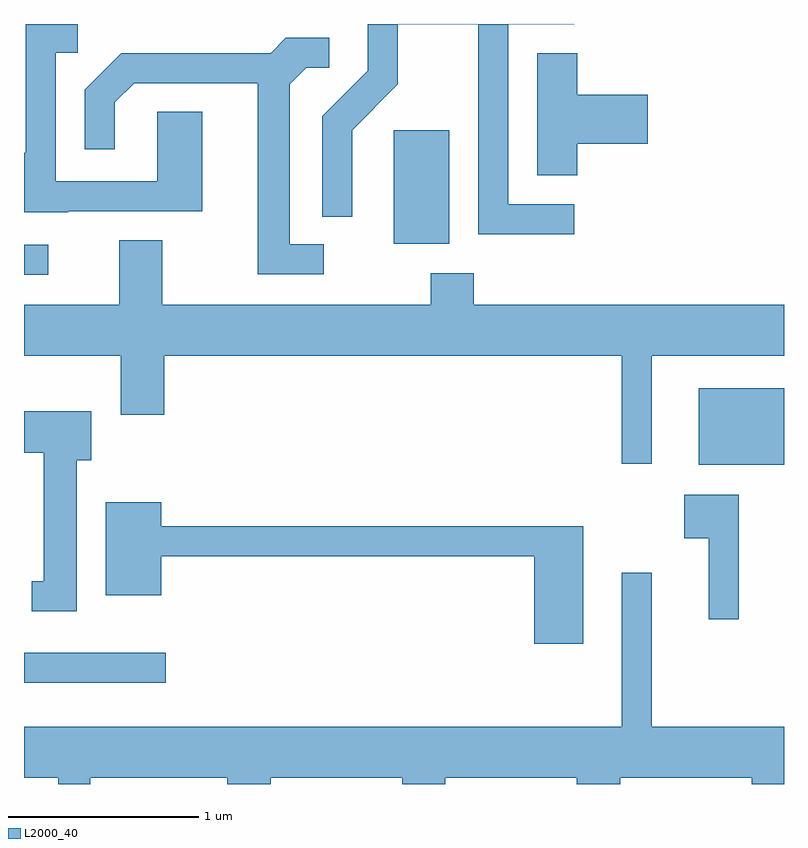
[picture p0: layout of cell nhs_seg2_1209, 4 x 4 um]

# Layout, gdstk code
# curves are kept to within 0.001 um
import gdstk
lib = gdstk.Library(unit=1e-6, precision=1e-09)
def R(c, l, rs):  # rectangles x0, y0, x1, y1
    for r in rs: c.add(gdstk.rectangle(r[:2], r[2:], *l))
def P(c, l, *ps):  # polygons
    for p in ps: c.add(gdstk.Polygon(p, *l))
L2000_40 = (2000, 40)

nhs_seg2_1209 = lib.new_cell('nhs_seg2_1209')
R(nhs_seg2_1209, L2000_40, [(219.611,1084.336,220.358,1084.494), (223.161,1085.481,223.611,1085.884), (219.611,1086.481,219.738,1086.639), (221.556,1086.646,221.849,1087.244)])
P(nhs_seg2_1209, L2000_40, [(219.845,1086.816),(220.549,1086.816),(220.549,1087.339),(220.311,1087.339),(220.311,1086.974),(219.779,1086.974),(219.779,1087.651),(219.893,1087.651),(219.893,1087.802),(219.621,1087.802),(219.621,1087.124),(219.611,1087.124),(219.611,1086.811),(219.845,1086.811)],
  [(220.668,1087.802),(220.128,1087.802),(220.129,1087.801),(220.667,1087.801)],
  [(222.508,1086.854),(222.159,1086.854),(222.159,1087.801),(222.508,1087.802),(221.421,1087.802),(221.421,1087.557),(221.181,1087.317),(221.181,1086.788),(221.339,1086.788),(221.339,1087.244),(221.579,1087.484),(221.579,1087.801),(222.001,1087.801),(222.001,1086.696),(222.508,1086.696)],
  [(221.188,1086.644),(221.009,1086.644),(221.009,1087.484),(221.097,1087.571),(221.218,1087.571),(221.218,1087.729),(220.989,1087.729),(220.909,1087.649),(220.124,1087.649),(219.931,1087.457),(219.931,1087.143),(220.089,1087.143),(220.089,1087.389),(220.192,1087.491),(220.841,1087.491),(220.841,1086.486),(221.188,1086.486)],
  [(222.524,1087.171),(222.894,1087.171),(222.894,1087.429),(222.524,1087.429),(222.524,1087.649),(222.311,1087.649),(222.311,1087.006),(222.524,1087.006)],
  [(222.914,1086.056),(223.611,1086.056),(223.611,1086.324),(221.979,1086.324),(221.979,1086.489),(221.751,1086.489),(221.751,1086.324),(220.339,1086.324),(220.339,1086.664),(220.111,1086.664),(220.111,1086.324),(219.611,1086.324),(219.611,1086.056),(220.121,1086.056),(220.121,1085.746),(220.349,1085.746),(220.349,1086.056),(222.756,1086.056),(222.756,1085.488),(222.914,1085.488)],
  [(219.889,1085.506),(219.964,1085.506),(219.964,1085.764),(219.611,1085.764),(219.611,1085.546),(219.716,1085.546),(219.716,1084.869),(219.653,1084.869),(219.653,1084.711),(219.889,1084.711)],
  [(223.374,1085.324),(223.086,1085.324),(223.086,1085.096),(223.216,1085.096),(223.216,1084.668),(223.374,1084.668)],
  [(222.554,1085.159),(220.334,1085.159),(220.334,1085.284),(220.041,1085.284),(220.041,1084.796),(220.334,1084.796),(220.334,1085.001),(222.296,1085.001),(222.296,1084.541),(222.554,1084.541)],
  [(219.959,1083.836),(220.681,1083.836),(220.681,1083.802),(220.909,1083.802),(220.909,1083.836),(221.601,1083.836),(221.601,1083.802),(221.829,1083.802),(221.829,1083.836),(222.521,1083.836),(222.521,1083.802),(222.749,1083.802),(222.749,1083.836),(223.441,1083.836),(223.441,1083.802),(223.611,1083.802),(223.611,1084.104),(222.914,1084.104),(222.914,1084.913),(222.756,1084.913),(222.756,1084.104),(219.611,1084.104),(219.611,1083.836),(219.791,1083.836),(219.791,1083.802),(219.959,1083.802)])

lib.write_gds('nhs_seg2_1209.gds')
